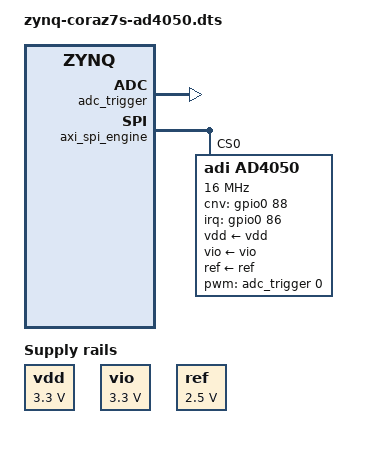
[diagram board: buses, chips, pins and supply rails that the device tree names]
// SPDX-License-Identifier: GPL-2.0
/*
 * Analog Devices AD4050
 *
 * hdl_project: <ad4052_ardz/coraz7s>
 * Link: https://github.com/analogdevicesinc/hdl/tree/main/projects/ad4052_ardz
 * board_revision: <A>
 *
 * Copyright (C) 2026 Analog Devices Inc.
 */
/dts-v1/;
#include "zynq-coraz7s.dtsi"
#include "zynq-coraz7s-axi-sysid.dtsi"
#include <dt-bindings/interrupt-controller/irq.h>
#include <dt-bindings/gpio/gpio.h>
#include <dt-bindings/iio/adc/adi,ad4052.h>

/ {
	vdd: regulator-vdd {
		compatible = "regulator-fixed";
		regulator-name = "vdd-fixed-supply";
		regulator-min-microvolt = <3300000>;
		regulator-max-microvolt = <3300000>;
		regulator-always-on;
	};

	vio: regulator-vio {
		compatible = "regulator-fixed";
		regulator-name = "vio-fixed-supply";
		regulator-min-microvolt = <3300000>;
		regulator-max-microvolt = <3300000>;
		regulator-always-on;
	};

	ref: regulator-ref {
		compatible = "regulator-fixed";
		regulator-name = "ref-fixed-supply";
		regulator-min-microvolt = <2500000>;
		regulator-max-microvolt = <2500000>;
		regulator-always-on;
	};
};

&fpga_axi {
	rx_dma: dma-controller@44a30000 {
		compatible = "adi,axi-dmac-1.00.a";
		reg = <0x44a30000 0x1000>;
		#dma-cells = <1>;
		interrupt-parent = <&intc>;
		interrupts = <0 57 IRQ_TYPE_LEVEL_HIGH>;
		clocks = <&clkc 15>;
	};

	spi_clk: clock-controller@44a70000 {
		compatible = "adi,axi-clkgen-2.00.a";
		reg = <0x44a70000 0x10000>;
		#clock-cells = <0>;
		clocks = <&clkc 15>, <&clkc 15>;
		clock-names = "s_axi_aclk", "clkin1";
		clock-output-names = "spi_clk";
	};

	adc_trigger: pwm@44b00000 {
		compatible = "adi,axi-pwmgen-2.00.a";
		reg = <0x44b00000 0x1000>;
		#pwm-cells = <2>;
		clocks = <&spi_clk>;
	};

	axi_spi_engine: spi@44a00000 {
		compatible = "adi,axi-spi-engine-1.00.a";
		reg = <0x44a00000 0x1FF>;
		interrupt-parent = <&intc>;
		interrupts = <0 56 IRQ_TYPE_LEVEL_HIGH>;
		clocks = <&clkc 15>, <&spi_clk>;
		clock-names = "s_axi_aclk", "spi_clk";

		dmas = <&rx_dma 0>;
		dma-names = "offload0-rx";
		trigger-sources = <&ad4050 AD4052_TRIGGER_EVENT_DATA_READY
					   AD4052_TRIGGER_PIN_GP1>;

		#address-cells = <0x1>;
		#size-cells = <0x0>;

		ad4050: ad4050@0 {
			compatible = "adi,ad4050";
			reg = <0>;
			vdd-supply = <&vdd>;
			vio-supply = <&vio>;
			ref-supply = <&ref>;
			spi-max-frequency = <16000000>;

			#trigger-source-cells = <2>;

			pwms = <&adc_trigger 0 10000 0>;

			interrupt-parent = <&gpio0>;
			interrupts = <86 IRQ_TYPE_EDGE_RISING>,
				     <87 IRQ_TYPE_EDGE_FALLING>;
			interrupt-names = "gp0", "gp1";
			cnv-gpios = <&gpio0 88 GPIO_ACTIVE_HIGH>;
		};
	};
};
